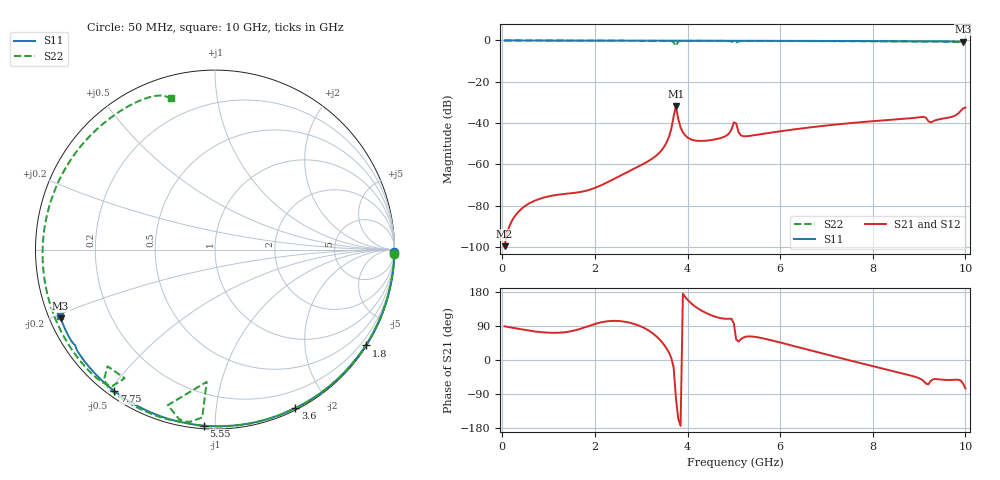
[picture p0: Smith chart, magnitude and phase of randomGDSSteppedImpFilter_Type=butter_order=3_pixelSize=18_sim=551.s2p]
! freq	dB(S11)	phase(S11)	dB(S12)	phase(S12)
!  dB(S21)	phase(S21)	dB(S22)	phase(S22)
!S-par simulation data
#  GHz  S  DB  R 50
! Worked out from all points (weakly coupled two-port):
!   200 points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, 50 MHz to 10 GHz, reference 50 ohm
!   highest |S21| = -31.85 dB at 3.75 GHz (marker M1); lowest = -99.6 dB at 50 MHz (marker M2)
!   lowest |S11| = -0.5 dB at 9.95 GHz (marker M3), VSWR 32.97, Z = 1.58 - j10.6 ohm
!   |S11| at or under -10 dB: nowhere
!   |S22| runs from -2.6 to 0.0 dB; largest |S21 - S12| = 0
!   S11 on the Smith chart (normalised r, x): 50 MHz: open; 1.8 GHz: 0.03, -3.44; 3.6 GHz: 0.02, -1.63; 5.55 GHz: 0.02, -0.94; 7.75 GHz: 0.02, -0.52; 10 GHz: 0.03, -0.20
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0.05  -0.00 -0.9  -99.61 88.9  -99.61 88.9  -0.00 -1.4
1.75  -0.04 -31.6  -73.09 84.9  -73.09 84.9  -0.06 -49.0
1.8  -0.04 -32.4  -72.83 87.0  -72.83 87.0  -0.06 -50.4
3.4  -0.08 -59.8  -54.21 53.7  -54.21 53.7  -0.13 -92.5
3.6  -0.09 -63.1  -46.57 19.3  -46.57 19.3  -0.20 -99.2
3.7  -0.09 -64.8  -36.73 -20.4  -36.73 -20.4  -0.86 -106.9
3.75  -0.11 -65.5  -31.85 -101.7  -31.85 -101.7  -2.64 -93.6
3.8  -0.10 -66.3  -38.10 -155.6  -38.10 -155.6  -0.56 -94.3
3.9  -0.09 -68.0  -44.47 174.9  -44.47 174.9  -0.21 -100.5
4.1  -0.10 -71.2  -48.11 147.3  -48.11 147.3  -0.16 -106.8
4.75  -0.12 -81.5  -47.00 109.6  -47.00 109.6  -0.20 -123.5
4.95  -0.13 -84.6  -43.12 108.5  -43.12 108.5  -0.43 -130.5
5.05  -0.13 -86.1  -40.16 54.4  -40.16 54.4  -1.15 -125.0
5.15  -0.14 -87.6  -45.91 54.6  -45.91 54.6  -0.30 -129.2
5.55  -0.15 -93.7  -45.50 59.1  -45.50 59.1  -0.23 -140.1
6.7  -0.21 -110.6  -41.95 24.1  -41.95 24.1  -0.30 -166.6
7.75  -0.29 -125.5  -39.56 -8.7  -39.56 -8.7  -0.39 168.5
8.35  -0.34 -133.9  -38.48 -26.8  -38.48 -26.8  -0.45 153.5
9.1  -0.45 -144.6  -37.03 -55.6  -37.03 -55.6  -0.55 133.1
9.25  -0.48 -146.2  -39.70 -55.4  -39.70 -55.4  -0.57 128.8
9.95  -0.53 -156.1  -32.90 -62.2  -32.90 -62.2  -1.09 106.8
10  -0.53 -156.8  -32.49 -74.9  -32.49 -74.9  -1.10 106.2
